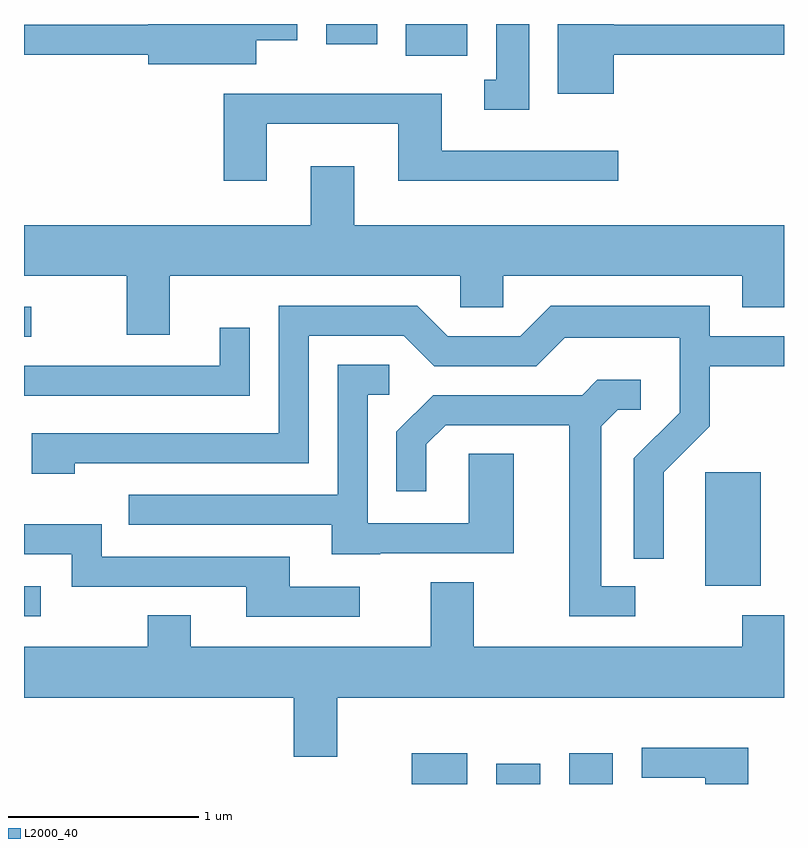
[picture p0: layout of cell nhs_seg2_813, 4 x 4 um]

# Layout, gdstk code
import gdstk
lib = gdstk.Library(unit=1e-6, precision=1e-09)
def R(c, l, rs):  # rectangles x0, y0, x1, y1
    for r in rs: c.add(gdstk.rectangle(r[:2], r[2:], *l))
def P(c, l, *ps):  # polygons
    for p in ps: c.add(gdstk.Polygon(p, *l))
L2000_40 = (2000, 40)

nhs_seg2_813 = lib.new_cell('nhs_seg2_813')
R(nhs_seg2_813, L2000_40, [(209.651,1107.802,209.944,1107.964), (210.096,1107.802,210.329,1107.909), (210.481,1107.802,210.709,1107.964), (207.611,1108.686,207.698,1108.844), (211.196,1108.846,211.489,1109.444), (207.611,1110.156,207.648,1110.314), (209.621,1111.636,209.944,1111.802), (209.201,1111.696,209.469,1111.802)])
P(nhs_seg2_813, L2000_40, [(208.834,1111.716),(209.049,1111.716),(209.049,1111.802),(208.266,1111.802),(208.266,1111.799),(207.611,1111.799),(207.611,1111.641),(208.266,1111.641),(208.266,1111.591),(208.834,1111.591)],
  [(210.269,1111.802),(210.096,1111.802),(210.096,1111.509),(210.033,1111.509),(210.033,1111.351),(210.269,1111.351)],
  [(210.714,1111.641),(211.611,1111.641),(211.611,1111.799),(210.714,1111.799),(210.714,1111.802),(210.421,1111.802),(210.421,1111.436),(210.714,1111.436)],
  [(208.889,1111.276),(209.581,1111.276),(209.581,1110.976),(210.738,1110.976),(210.738,1111.134),(209.809,1111.134),(209.809,1111.434),(208.661,1111.434),(208.661,1110.976),(208.889,1110.976)],
  [(208.379,1110.476),(209.906,1110.476),(209.906,1110.311),(210.134,1110.311),(210.134,1110.476),(211.391,1110.476),(211.391,1110.311),(211.611,1110.311),(211.611,1110.744),(209.349,1110.744),(209.349,1111.054),(209.121,1111.054),(209.121,1110.744),(207.611,1110.744),(207.611,1110.476),(208.151,1110.476),(208.151,1110.166),(208.379,1110.166)],
  [(210.979,1109.444),(211.219,1109.684),(211.219,1110.001),(211.611,1110.001),(211.611,1110.159),(211.219,1110.159),(211.219,1110.319),(210.384,1110.319),(210.224,1110.159),(209.842,1110.159),(209.682,1110.319),(208.951,1110.319),(208.951,1109.649),(207.651,1109.649),(207.651,1109.436),(207.879,1109.436),(207.879,1109.491),(209.109,1109.491),(209.109,1110.161),(209.609,1110.161),(209.769,1110.001),(210.307,1110.001),(210.457,1110.151),(211.061,1110.151),(211.061,1109.757),(210.821,1109.517),(210.821,1108.988),(210.979,1108.988)],
  [(208.799,1110.203),(208.641,1110.203),(208.641,1110.004),(207.611,1110.004),(207.611,1109.846),(208.799,1109.846)],
  [(209.485,1109.016),(210.189,1109.016),(210.189,1109.539),(209.951,1109.539),(209.951,1109.174),(209.419,1109.174),(209.419,1109.851),(209.533,1109.851),(209.533,1110.009),(209.261,1110.009),(209.261,1109.324),(208.163,1109.324),(208.163,1109.166),(209.231,1109.166),(209.231,1109.011),(209.485,1109.011)],
  [(210.828,1108.844),(210.649,1108.844),(210.649,1109.684),(210.737,1109.771),(210.858,1109.771),(210.858,1109.929),(210.629,1109.929),(210.549,1109.849),(209.764,1109.849),(209.571,1109.657),(209.571,1109.343),(209.729,1109.343),(209.729,1109.589),(209.832,1109.691),(210.481,1109.691),(210.481,1108.686),(210.828,1108.686)],
  [(209.378,1108.839),(209.009,1108.839),(209.009,1108.999),(208.019,1108.999),(208.019,1109.169),(207.611,1109.169),(207.611,1109.011),(207.861,1109.011),(207.861,1108.841),(208.781,1108.841),(208.781,1108.681),(209.378,1108.681)],
  [(209.259,1108.256),(211.611,1108.256),(211.611,1108.689),(211.391,1108.689),(211.391,1108.524),(209.979,1108.524),(209.979,1108.864),(209.751,1108.864),(209.751,1108.524),(208.489,1108.524),(208.489,1108.689),(208.261,1108.689),(208.261,1108.524),(207.611,1108.524),(207.611,1108.256),(209.031,1108.256),(209.031,1107.946),(209.259,1107.946)],
  [(211.424,1107.994),(210.863,1107.994),(210.863,1107.836),(211.196,1107.836),(211.196,1107.802),(211.424,1107.802)])

lib.write_gds('nhs_seg2_813.gds')
